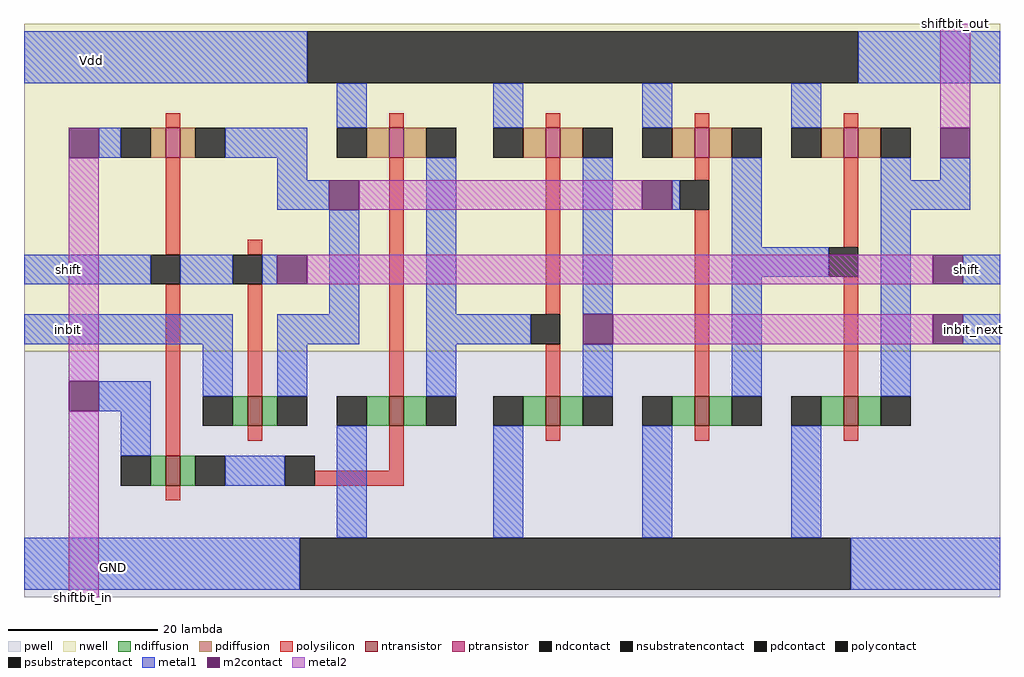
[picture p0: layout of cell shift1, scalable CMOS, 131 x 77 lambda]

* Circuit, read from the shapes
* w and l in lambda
.subckt shift1 GND Vdd inbit inbit_next shift shiftbit_in shiftbit_out
M1 n1 shift shiftbit_in GND nfet w=4 l=2
M2 n2 shift inbit GND nfet w=4 l=2
M3 n3 n1 GND GND nfet w=4 l=2
M4 inbit_next n3 GND GND nfet w=4 l=2
M5 n4 n2 GND GND nfet w=4 l=2
M6 shiftbit_out n4 GND GND nfet w=4 l=2
M7 n2 shift shiftbit_in Vdd pfet w=4 l=2
M8 n3 n1 Vdd Vdd pfet w=4 l=2
M9 inbit_next n3 Vdd Vdd pfet w=4 l=2
M10 n4 n2 Vdd Vdd pfet w=4 l=2
M11 shiftbit_out n4 Vdd Vdd pfet w=4 l=2
.ends

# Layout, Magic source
magic
tech scmos
<< pwell >>
rect -19 -28 112 5
<< nwell >>
rect -19 5 112 49
<< polysilicon >>
rect 0 35 2 37
rect 30 35 32 37
rect 51 35 53 37
rect 71 35 73 37
rect 91 35 93 37
rect 0 18 2 31
rect 11 18 13 20
rect 0 -9 2 14
rect 11 -1 13 14
rect 30 -1 32 31
rect 51 10 53 31
rect 71 28 73 31
rect 51 -1 53 6
rect 71 -1 73 24
rect 91 19 93 31
rect 91 -1 93 15
rect 11 -7 13 -5
rect 30 -11 32 -5
rect 51 -7 53 -5
rect 71 -7 73 -5
rect 91 -7 93 -5
rect 20 -13 32 -11
rect 0 -15 2 -13
<< ndiffusion >>
rect 9 -5 11 -1
rect 13 -5 15 -1
rect 27 -5 30 -1
rect 32 -5 35 -1
rect 48 -5 51 -1
rect 53 -5 56 -1
rect 68 -5 71 -1
rect 73 -5 76 -1
rect 88 -5 91 -1
rect 93 -5 96 -1
rect -2 -13 0 -9
rect 2 -13 4 -9
<< pdiffusion >>
rect -2 31 0 35
rect 2 31 4 35
rect 27 31 30 35
rect 32 31 35 35
rect 48 31 51 35
rect 53 31 56 35
rect 68 31 71 35
rect 73 31 76 35
rect 88 31 91 35
rect 93 31 96 35
<< metal1 >>
rect -19 41 19 48
rect 93 41 112 48
rect 23 35 27 41
rect 44 35 48 41
rect 64 35 68 41
rect 84 35 88 41
rect -9 31 -6 35
rect 8 31 19 35
rect 15 28 19 31
rect 15 24 22 28
rect -19 14 -2 18
rect 2 14 9 18
rect 13 14 15 18
rect 22 10 26 24
rect -19 6 9 10
rect -9 -3 -2 1
rect -6 -9 -2 -3
rect 5 -1 9 6
rect 15 6 26 10
rect 35 10 39 31
rect 56 10 60 31
rect 68 24 69 28
rect 35 6 49 10
rect 15 -1 19 6
rect 35 -1 39 6
rect 56 -1 60 6
rect 76 19 80 31
rect 96 28 100 31
rect 104 28 108 31
rect 96 24 108 28
rect 76 15 89 19
rect 76 -1 80 15
rect 96 -1 100 24
rect 107 14 112 18
rect 107 6 112 10
rect 8 -13 16 -9
rect 23 -20 27 -5
rect 44 -20 48 -5
rect 64 -20 68 -5
rect 84 -20 88 -5
rect -19 -27 18 -20
rect 92 -27 112 -20
<< metal2 >>
rect 104 35 108 49
rect -13 1 -9 31
rect 26 24 64 28
rect 19 14 103 18
rect 60 6 103 10
rect -13 -28 -9 -3
<< ntransistor >>
rect 11 -5 13 -1
rect 30 -5 32 -1
rect 51 -5 53 -1
rect 71 -5 73 -1
rect 91 -5 93 -1
rect 0 -13 2 -9
<< ptransistor >>
rect 0 31 2 35
rect 30 31 32 35
rect 51 31 53 35
rect 71 31 73 35
rect 91 31 93 35
<< polycontact >>
rect -2 14 2 18
rect 9 14 13 18
rect 69 24 73 28
rect 49 6 53 10
rect 89 15 93 19
rect 16 -13 20 -9
<< ndcontact >>
rect 5 -5 9 -1
rect 15 -5 19 -1
rect 23 -5 27 -1
rect 35 -5 39 -1
rect 44 -5 48 -1
rect 56 -5 60 -1
rect 64 -5 68 -1
rect 76 -5 80 -1
rect 84 -5 88 -1
rect 96 -5 100 -1
rect -6 -13 -2 -9
rect 4 -13 8 -9
<< pdcontact >>
rect -6 31 -2 35
rect 4 31 8 35
rect 23 31 27 35
rect 35 31 39 35
rect 44 31 48 35
rect 56 31 60 35
rect 64 31 68 35
rect 76 31 80 35
rect 84 31 88 35
rect 96 31 100 35
<< m2contact >>
rect -13 31 -9 35
rect 22 24 26 28
rect 15 14 19 18
rect -13 -3 -9 1
rect 64 24 68 28
rect 56 6 60 10
rect 104 31 108 35
rect 103 14 107 18
rect 103 6 107 10
<< psubstratepcontact >>
rect 18 -27 92 -20
<< nsubstratencontact >>
rect 19 41 93 48
<< labels >>
rlabel metal1 -19 6 -7 10 7 inbit
rlabel metal1 -19 14 -7 18 7 shift
rlabel metal1 105 6 112 10 3 inbit_next
rlabel metal1 103 14 112 18 3 shift
rlabel metal2 -13 -28 -9 -28 5 shiftbit_in
rlabel metal2 104 49 108 49 1 shiftbit_out
rlabel metal1 -10 44 -10 44 5 Vdd
rlabel metal1 -7 -24 -7 -24 1 GND
<< end >>
